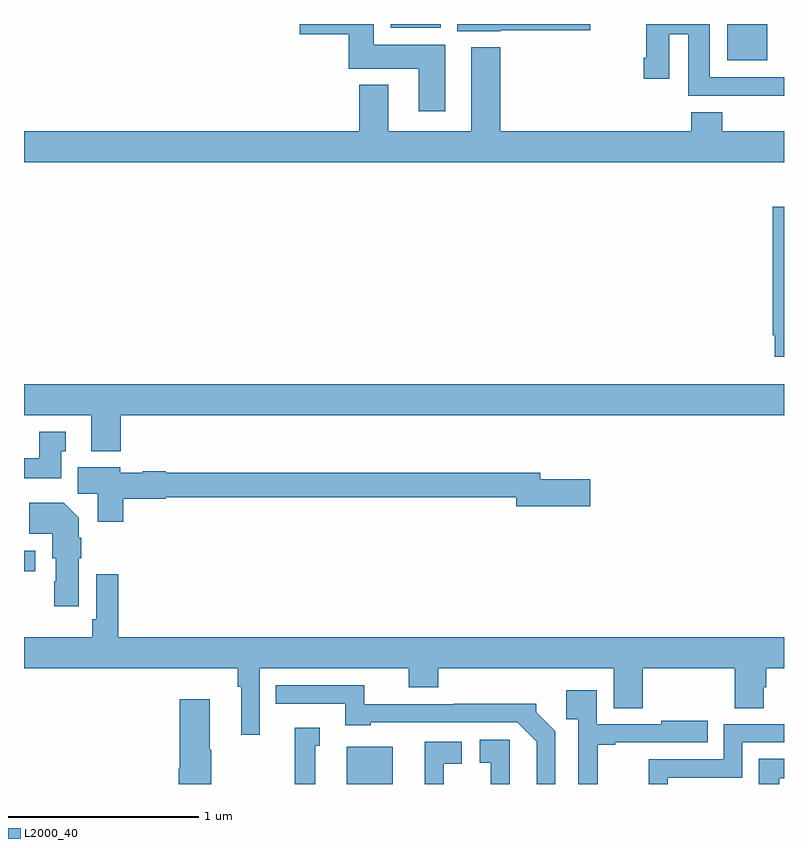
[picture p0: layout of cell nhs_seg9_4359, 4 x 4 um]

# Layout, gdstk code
import gdstk
lib = gdstk.Library(unit=1e-6, precision=1e-09)
def R(c, l, rs):  # rectangles x0, y0, x1, y1
    for r in rs: c.add(gdstk.rectangle(r[:2], r[2:], *l))
def P(c, l, *ps):  # polygons
    for p in ps: c.add(gdstk.Polygon(p, *l))
L2000_40 = (2000, 40)

nhs_seg9_4359 = lib.new_cell('nhs_seg9_4359')
R(nhs_seg9_4359, L2000_40, [(362.699,1174.5,362.941,1174.696), (361,1175.619,361.06,1175.727), (364.7,1178.309,364.912,1178.5), (362.93,1178.48,363.193,1178.5), (364.997,1178.498,365,1178.5)])
P(nhs_seg9_4359, L2000_40, [(363.51,1178.468),(363.979,1178.468),(363.979,1178.5),(363.281,1178.5),(363.281,1178.462),(363.51,1178.462)],
  [(365,1178.22),(364.609,1178.22),(364.609,1178.5),(364.274,1178.5),(364.274,1178.323),(364.262,1178.323),(364.262,1178.211),(364.396,1178.211),(364.396,1178.447),(364.496,1178.447),(364.496,1178.123),(365,1178.123)],
  [(363.217,1178.392),(362.842,1178.392),(362.842,1178.5),(362.451,1178.5),(362.451,1178.447),(362.708,1178.447),(362.708,1178.264),(363.077,1178.264),(363.077,1178.04),(363.217,1178.04)],
  [(365,1177.936),(364.676,1177.936),(364.676,1178.035),(364.511,1178.035),(364.511,1177.936),(363.506,1177.936),(363.506,1178.377),(363.353,1178.377),(363.353,1177.936),(362.917,1177.936),(362.917,1178.179),(362.765,1178.179),(362.765,1177.936),(361,1177.936),(361,1177.772),(365,1177.772)],
  [(365,1177.537),(364.94,1177.537),(364.94,1176.862),(364.952,1176.862),(364.952,1176.75),(365,1176.75)],
  [(361.508,1176.44),(365,1176.44),(365,1176.604),(361,1176.604),(361,1176.44),(361.355,1176.44),(361.355,1176.251),(361.508,1176.251)],
  [(361.195,1176.252),(361.219,1176.252),(361.219,1176.355),(361.079,1176.355),(361.079,1176.214),(361,1176.214),(361,1176.11),(361.195,1176.11)],
  [(361.523,1176.002),(361.746,1176.002),(361.746,1176.01),(363.59,1176.01),(363.59,1175.963),(363.979,1175.963),(363.979,1176.105),(363.718,1176.105),(363.718,1176.139),(361.746,1176.139),(361.746,1176.147),(361.626,1176.147),(361.626,1176.139),(361.506,1176.139),(361.506,1176.166),(361.283,1176.166),(361.283,1176.028),(361.388,1176.028),(361.388,1175.88),(361.523,1175.88)],
  [(361.288,1175.688),(361.301,1175.688),(361.301,1175.795),(361.288,1175.795),(361.288,1175.902),(361.21,1175.98),(361.027,1175.98),(361.027,1175.816),(361.148,1175.816),(361.148,1175.688),(361.166,1175.688),(361.166,1175.568),(361.159,1175.568),(361.159,1175.436),(361.288,1175.436)],
  [(362.241,1175.108),(363.026,1175.108),(363.026,1175.009),(363.179,1175.009),(363.179,1175.108),(364.103,1175.108),(364.103,1174.9),(364.256,1174.9),(364.256,1175.108),(364.742,1175.108),(364.742,1174.9),(364.894,1174.9),(364.894,1175.01),(364.907,1175.01),(364.907,1175.108),(365,1175.108),(365,1175.272),(361.496,1175.272),(361.496,1175.605),(361.38,1175.605),(361.38,1175.368),(361.36,1175.368),(361.36,1175.272),(361,1175.272),(361,1175.108),(362.125,1175.108),(362.125,1175.012),(362.144,1175.012),(362.144,1174.758),(362.241,1174.758)],
  [(363.795,1174.778),(363.696,1174.877),(363.696,1174.922),(363.262,1174.922),(363.262,1174.92),(362.79,1174.92),(362.79,1175.019),(362.326,1175.019),(362.326,1174.923),(362.69,1174.923),(362.69,1174.808),(362.826,1174.808),(362.826,1174.824),(363.597,1174.824),(363.698,1174.723),(363.698,1174.5),(363.795,1174.5)],
  [(364.019,1174.707),(364.111,1174.707),(364.111,1174.719),(364.598,1174.719),(364.598,1174.834),(364.355,1174.834),(364.355,1174.815),(364.014,1174.815),(364.014,1174.993),(363.853,1174.993),(363.853,1174.841),(363.918,1174.841),(363.918,1174.5),(364.019,1174.5)],
  [(361.986,1174.681),(361.978,1174.681),(361.978,1174.945),(361.82,1174.945),(361.82,1174.581),(361.814,1174.581),(361.814,1174.5),(361.986,1174.5)],
  [(364.389,1174.533),(364.779,1174.533),(364.779,1174.719),(365,1174.719),(365,1174.815),(364.683,1174.815),(364.683,1174.629),(364.288,1174.629),(364.288,1174.5),(364.389,1174.5)],
  [(362.533,1174.701),(362.557,1174.701),(362.557,1174.795),(362.424,1174.795),(362.424,1174.5),(362.533,1174.5)],
  [(363.556,1174.732),(363.399,1174.732),(363.399,1174.611),(363.457,1174.611),(363.457,1174.5),(363.556,1174.5)],
  [(363.21,1174.606),(363.304,1174.606),(363.304,1174.722),(363.11,1174.722),(363.11,1174.5),(363.21,1174.5)],
  [(364.975,1174.531),(365,1174.531),(365,1174.634),(364.868,1174.634),(364.868,1174.5),(364.975,1174.5)])

lib.write_gds('nhs_seg9_4359.gds')
